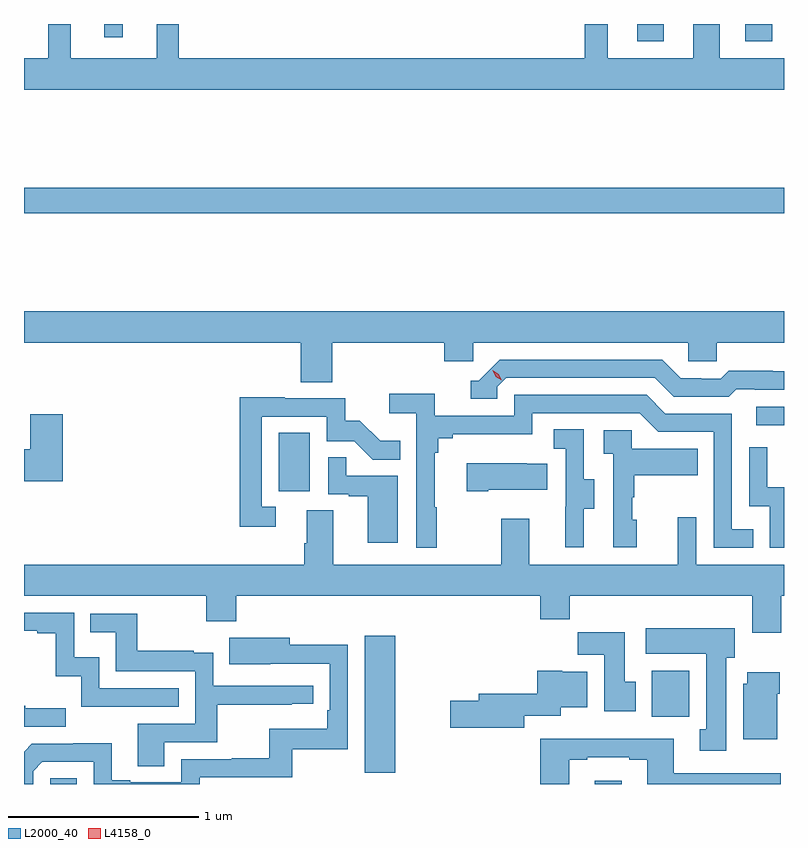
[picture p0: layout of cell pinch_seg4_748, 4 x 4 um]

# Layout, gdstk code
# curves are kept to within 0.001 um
import gdstk
lib = gdstk.Library(unit=1e-6, precision=1e-09)
def R(c, l, rs):  # rectangles x0, y0, x1, y1
    for r in rs: c.add(gdstk.rectangle(r[:2], r[2:], *l))
def P(c, l, *ps):  # polygons
    for p in ps: c.add(gdstk.Polygon(p, *l))
L2000_40 = (2000, 40)
L4158_0 = (4158, 0)

pinch_seg4_748 = lib.new_cell('pinch_seg4_748')
R(pinch_seg4_748, L2000_40, [(879.402,818.473,879.541,818.504), (882.269,818.473,882.409,818.491), (881.057,818.532,881.218,819.253), (882.569,818.828,882.766,819.07), (880.604,820.014,880.768,820.321), (883.119,820.362,883.264,820.458), (879.264,821.476,883.264,821.612), (882.491,822.381,882.631,822.473), (883.061,822.381,883.201,822.473), (879.686,822.402,879.783,822.473)])
P(pinch_seg4_748, L2000_40, [(883.264,822.292),(882.925,822.292),(882.925,822.473),(882.786,822.473),(882.786,822.292),(882.337,822.292),(882.337,822.473),(882.216,822.473),(882.216,822.292),(880.079,822.292),(880.079,822.473),(879.962,822.473),(879.962,822.292),(879.509,822.292),(879.509,822.473),(879.391,822.473),(879.391,822.292),(879.264,822.292),(879.264,822.128),(883.264,822.128)],
  [(880.886,820.796),(881.477,820.796),(881.477,820.698),(881.628,820.698),(881.628,820.796),(882.759,820.796),(882.759,820.698),(882.909,820.698),(882.909,820.796),(883.264,820.796),(883.264,820.96),(879.264,820.96),(879.264,820.796),(880.721,820.796),(880.721,820.588),(880.886,820.588)],
  [(881.754,820.563),(881.802,820.611),(882.585,820.611),(882.684,820.512),(882.973,820.512),(883.012,820.551),(883.111,820.551),(883.111,820.548),(883.264,820.548),(883.264,820.645),(883.206,820.645),(883.206,820.648),(882.973,820.648),(882.931,820.605),(882.828,820.605),(882.828,820.608),(882.721,820.608),(882.622,820.707),(881.769,820.707),(881.658,820.596),(881.615,820.596),(881.615,820.5),(881.754,820.5)],
  [(881.437,819.929),(881.425,819.929),(881.425,820.217),(881.444,820.217),(881.444,820.294),(881.521,820.294),(881.521,820.313),(881.94,820.313),(881.94,820.425),(882.504,820.425),(882.603,820.326),(882.894,820.326),(882.894,819.717),(883.103,819.717),(883.103,819.813),(882.99,819.813),(882.99,820.422),(882.64,820.422),(882.541,820.521),(881.844,820.521),(881.844,820.41),(881.426,820.41),(881.426,820.526),(881.187,820.526),(881.187,820.424),(881.328,820.424),(881.328,819.717),(881.437,819.717)],
  [(880.588,819.933),(880.515,819.933),(880.515,820.407),(880.857,820.407),(880.857,820.278),(881.001,820.278),(881.099,820.18),(881.243,820.18),(881.243,820.279),(881.139,820.279),(881.032,820.386),(880.956,820.386),(880.956,820.503),(880.637,820.503),(880.637,820.508),(880.399,820.508),(880.399,819.828),(880.588,819.828)],
  [(879.467,820.42),(879.296,820.42),(879.296,820.234),(879.264,820.234),(879.264,820.067),(879.467,820.067)],
  [(882.211,819.922),(882.265,819.922),(882.265,820.077),(882.21,820.077),(882.21,820.34),(882.051,820.34),(882.051,820.237),(882.114,820.237),(882.114,819.933),(882.113,819.933),(882.113,819.72),(882.211,819.72)],
  [(882.49,819.864),(882.465,819.864),(882.465,819.983),(882.475,819.983),(882.475,820.097),(882.809,820.097),(882.809,820.237),(882.462,820.237),(882.462,820.335),(882.315,820.335),(882.315,820.211),(882.366,820.211),(882.366,819.72),(882.49,819.72)],
  [(883.264,820.034),(883.176,820.034),(883.176,820.246),(883.08,820.246),(883.08,819.936),(883.188,819.936),(883.188,819.717),(883.264,819.717)],
  [(881.23,820.095),(880.961,820.095),(880.961,820.193),(880.866,820.193),(880.866,819.999),(880.973,819.999),(880.973,819.987),(881.072,819.987),(881.072,819.744),(881.23,819.744)],
  [(881.707,820.022),(882.017,820.022),(882.017,820.159),(881.909,820.159),(881.909,820.162),(881.595,820.162),(881.595,820.015),(881.707,820.015)],
  [(881.981,819.34),(882.137,819.34),(882.137,819.464),(883.097,819.464),(883.097,819.27),(883.25,819.27),(883.25,819.464),(883.264,819.464),(883.264,819.628),(882.801,819.628),(882.801,819.877),(882.704,819.877),(882.704,819.628),(881.923,819.628),(881.923,819.868),(881.776,819.868),(881.776,819.628),(880.891,819.628),(880.891,819.914),(880.751,819.914),(880.751,819.74),(880.739,819.74),(880.739,819.628),(879.264,819.628),(879.264,819.464),(880.222,819.464),(880.222,819.329),(880.382,819.329),(880.382,819.464),(881.981,819.464)],
  [(880.079,818.976),(879.66,818.976),(879.66,819.139),(879.528,819.139),(879.528,819.375),(879.264,819.375),(879.264,819.279),(879.335,819.279),(879.335,819.267),(879.431,819.267),(879.431,819.041),(879.564,819.041),(879.564,818.88),(880.079,818.88)],
  [(880.003,818.694),(880.28,818.694),(880.28,818.89),(880.673,818.89),(880.673,818.895),(880.786,818.895),(880.786,818.991),(880.26,818.991),(880.26,819.163),(880.157,819.163),(880.157,819.175),(879.859,819.175),(879.859,819.369),(879.613,819.369),(879.613,819.272),(879.748,819.272),(879.748,819.066),(880.164,819.066),(880.164,818.79),(879.863,818.79),(879.863,818.566),(880.003,818.566)],
  [(882.961,819.138),(883.006,819.138),(883.006,819.292),(882.537,819.292),(882.537,819.158),(882.854,819.158),(882.854,818.762),(882.821,818.762),(882.821,818.649),(882.961,818.649)],
  [(882.484,819.012),(882.427,819.012),(882.427,819.271),(882.178,819.271),(882.178,819.152),(882.317,819.152),(882.317,818.856),(882.484,818.856)],
  [(879.312,818.541),(879.36,818.589),(879.63,818.589),(879.63,818.473),(880.188,818.473),(880.188,818.508),(880.675,818.508),(880.675,818.655),(880.968,818.655),(880.968,819.206),(880.663,819.206),(880.663,819.244),(880.345,819.244),(880.345,819.104),(880.872,819.105),(880.872,818.86),(880.859,818.86),(880.859,818.764),(880.554,818.764),(880.554,818.609),(880.357,818.609),(880.357,818.604),(880.092,818.604),(880.092,818.481),(879.823,818.481),(879.823,818.494),(879.727,818.494),(879.727,818.687),(879.522,818.687),(879.522,818.685),(879.306,818.685),(879.264,818.643),(879.264,818.473),(879.312,818.473)],
  [(881.896,818.832),(882.088,818.832),(882.088,818.876),(882.229,818.876),(882.229,819.064),(882.096,819.064),(882.096,819.07),(881.966,819.07),(881.966,818.948),(881.657,818.948),(881.657,818.912),(881.508,818.912),(881.508,818.77),(881.896,818.77)],
  [(883.228,818.948),(883.241,818.948),(883.241,819.061),(883.07,819.061),(883.07,819),(883.049,819),(883.049,818.708),(883.228,818.708)],
  [(879.484,818.872),(879.271,818.872),(879.271,818.884),(879.264,818.884),(879.264,818.775),(879.484,818.775)],
  [(882.133,818.601),(882.229,818.601),(882.229,818.613),(882.449,818.613),(882.449,818.601),(882.545,818.601),(882.545,818.473),(883.246,818.473),(883.246,818.529),(882.685,818.529),(882.685,818.71),(881.981,818.71),(881.981,818.473),(882.133,818.473)])
P(pinch_seg4_748, L4158_0, [(881.778,820.597),(881.747,820.617),(881.731,820.649),(881.731,820.65),(881.732,820.65),(881.762,820.63),(881.778,820.597),(881.778,820.597)])

lib.write_gds('pinch_seg4_748.gds')
